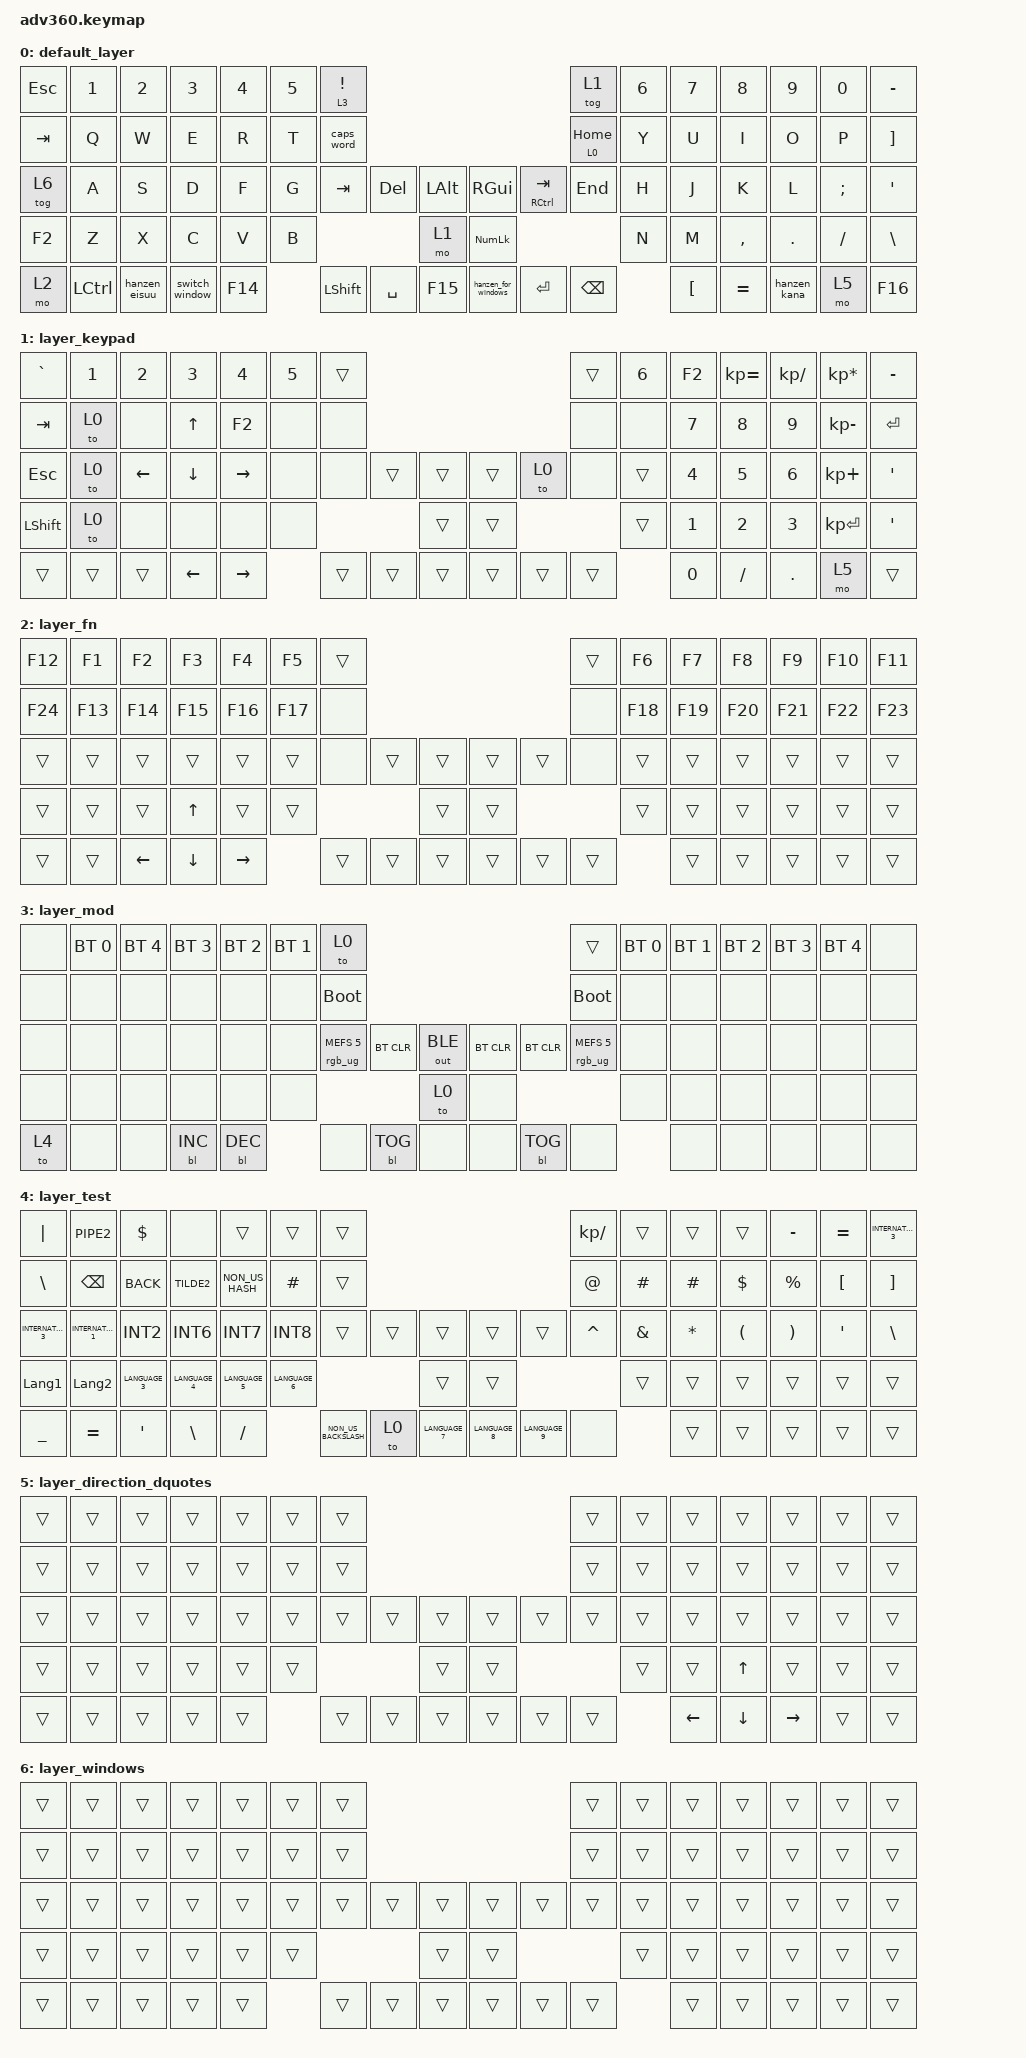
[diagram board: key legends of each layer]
/*
 * Copyright (c) 2020 The ZMK Contributors
 *
 * SPDX-License-Identifier: MIT
 */
/* THIS FILE WAS GENERATED!
 *
 * This file was generated automatically. You may or may not want to
 * edit it directly.
 */

#include <behaviors.dtsi>
#include <dt-bindings/zmk/backlight.h>
#include <dt-bindings/zmk/bt.h>
#include <dt-bindings/zmk/keys.h>
#include <dt-bindings/zmk/outputs.h>
#include <dt-bindings/zmk/rgb.h>

/ {
    behaviors {
        #include "macros.dtsi"
    #include "version.dtsi"

        hm: homerow_mods {
            compatible = "zmk,behavior-hold-tap";
            label = "HOMEROW_MODS";
            #binding-cells = <2>;
            tapping-term-ms = <200>;
            quick_tap_ms = <175>;
            flavor = "tap-preferred";
            bindings = <&kp>, <&kp>;
        };
    };

    macros {
        hanzen_eisuu: hanzen_or_eisuu {
            compatible = "zmk,behavior-macro";
            #binding-cells = <0>;
            bindings = <&kp F20>;
            label = "HANZEN_OR_EISUU";
        };

        hanzen_kana: hanzen_kana {
            compatible = "zmk,behavior-macro";
            #binding-cells = <0>;
            bindings = <&sk RIGHT_CONTROL &kp SPACE>;
            label = "HANZEN_KANA";
        };

        switch_window: switch_window {
            compatible = "zmk,behavior-macro";
            #binding-cells = <0>;
            bindings = <&kp SCROLLLOCK>;
            label = "SWITCH_WINDOW";
        };

        hanzen_for_windows: hanzen_for_windows {
            compatible = "zmk,behavior-macro";
            #binding-cells = <0>;
            bindings = <&sk LEFT_CONTROL &kp SPACE>;
            label = "HANZEN_FOR_WINDOWS";
        };
    };

    keymap {
        compatible = "zmk,keymap";

        default_layer {
            bindings = <
&kp ESC  &kp N1     &kp N2         &kp N3          &kp N4   &kp N5  &lt 3 EXCLAMATION                                                               &tog 1         &kp N6  &kp N7            &kp N8     &kp N9        &kp N0     &kp MINUS
&kp TAB  &kp Q      &kp W          &kp E           &kp R    &kp T   &caps_word                                                                      &lt 0 HOME     &kp Y   &kp U             &kp I      &kp O         &kp P      &kp RIGHT_BRACKET
&tog 6   &kp A      &kp S          &kp D           &kp F    &kp G   &kp TAB            &kp DEL    &kp LALT      &kp RGUI             &mt RCTRL TAB  &kp END        &kp H   &kp J             &kp K      &kp L         &kp SEMI   &kp SQT
&kp F2   &kp Z      &kp X          &kp C           &kp V    &kp B                                 &mo 1         &kp KP_NUM                                         &kp N   &kp M             &kp COMMA  &kp PERIOD    &kp SLASH  &kp BACKSLASH
&mo 2    &kp LCTRL  &hanzen_eisuu  &switch_window  &kp F14          &kp LEFT_SHIFT     &kp SPACE  &kp F15       &hanzen_for_windows  &kp ENTER      &kp BACKSPACE          &kp LEFT_BRACKET  &kp EQUAL  &hanzen_kana  &mo 5      &kp F16
            >;
        };

        layer_keypad {
            bindings = <
&kp GRAVE  &kp N1  &kp N2    &kp N3    &kp N4     &kp N5  &trans                                      &trans  &kp N6  &kp F2        &kp KP_EQUAL  &kp KP_DIVIDE  &kp KP_MULTIPLY  &kp MINUS
&kp TAB    &to 0   &none     &kp UP    &kp F2     &none   &none                                       &none   &none   &kp N7        &kp N8        &kp N9         &kp KP_MINUS     &kp ENTER
&kp ESC    &to 0   &kp LEFT  &kp DOWN  &kp RIGHT  &none   &none   &trans  &trans      &trans  &to 0   &none   &trans  &kp N4        &kp N5        &kp N6         &kp KP_PLUS      &kp SQT
&kp LSHFT  &to 0   &none     &none     &none      &none                   &trans      &trans                  &trans  &kp NUMBER_1  &kp N2        &kp N3         &kp KP_ENTER     &kp SQT
&trans     &trans  &trans    &kp LEFT  &kp RIGHT          &trans  &trans  &trans      &trans  &trans  &trans          &kp N0        &kp SLASH     &kp DOT        &mo 5            &trans
            >;
        };

        layer_fn {
            bindings = <
&kp F12  &kp F1   &kp F2    &kp F3    &kp F4     &kp F5   &trans                                      &trans  &kp F6   &kp F7   &kp F8   &kp F9   &kp F10  &kp F11
&kp F24  &kp F13  &kp F14   &kp F15   &kp F16    &kp F17  &none                                       &none   &kp F18  &kp F19  &kp F20  &kp F21  &kp F22  &kp F23
&trans   &trans   &trans    &trans    &trans     &trans   &none   &trans  &trans      &trans  &trans  &none   &trans   &trans   &trans   &trans   &trans   &trans
&trans   &trans   &trans    &kp UP    &trans     &trans                   &trans      &trans                  &trans   &trans   &trans   &trans   &trans   &trans
&trans   &trans   &kp LEFT  &kp DOWN  &kp RIGHT           &trans  &trans  &trans      &trans  &trans  &trans           &trans   &trans   &trans   &trans   &trans
            >;
        };

        layer_mod {
            bindings = <
&none  &bt BT_SEL 0  &bt BT_SEL 4  &bt BT_SEL 3  &bt BT_SEL 2  &bt BT_SEL 1  &to 0                                                                         &trans                  &bt BT_SEL 0  &bt BT_SEL 1  &bt BT_SEL 2  &bt BT_SEL 3  &bt BT_SEL 4  &none
&none  &none         &none         &none         &none         &none         &bootloader                                                                   &bootloader             &none         &none         &none         &none         &none         &none
&none  &none         &none         &none         &none         &none         &rgb_ug RGB_MEFS_CMD 5  &bt BT_CLR  &out OUT_BLE      &bt BT_CLR  &bt BT_CLR  &rgb_ug RGB_MEFS_CMD 5  &none         &none         &none         &none         &none         &none
&none  &none         &none         &none         &none         &none                                             &to 0             &none                                           &none         &none         &none         &none         &none         &none
&to 4  &none         &none         &bl BL_INC    &bl BL_DEC                  &none                   &bl BL_TOG  &none             &none       &bl BL_TOG  &none                                 &none         &none         &none         &none         &none
            >;
        };

        layer_test {
            bindings = <
&kp PIPE             &kp PIPE2            &kp DOLLAR      &none           &trans           &trans          &trans                                                                            &kp KP_DIVIDE  &trans         &trans        &trans                &kp MINUS              &kp EQUAL         &kp INTERNATIONAL_3
&kp BACKSLASH        &kp BACKSPACE        &kp K_BACK      &kp TILDE2      &kp NON_US_HASH  &kp HASH        &trans                                                                            &kp AT_SIGN    &kp HASH       &kp POUND     &kp DOLLAR            &kp PERCENT            &kp LBKT          &kp RBKT
&kp INTERNATIONAL_3  &kp INTERNATIONAL_1  &kp INT2        &kp INT6        &kp INT7         &kp INT8        &trans                &trans  &trans              &trans          &trans          &kp CARET      &kp AMPERSAND  &kp ASTERISK  &kp LEFT_PARENTHESIS  &kp RIGHT_PARENTHESIS  &kp SINGLE_QUOTE  &kp BACKSLASH
&kp LANGUAGE_1       &kp LANGUAGE_2       &kp LANGUAGE_3  &kp LANGUAGE_4  &kp LANGUAGE_5   &kp LANGUAGE_6                                &trans              &trans                                         &trans         &trans        &trans                &trans                 &trans            &trans
&kp UNDERSCORE       &kp EQUAL            &kp APOS        &kp BACKSLASH   &kp SLASH                        &kp NON_US_BACKSLASH  &to 0   &kp LANGUAGE_7      &kp LANGUAGE_8  &kp LANGUAGE_9  &none                         &trans        &trans                &trans                 &trans            &trans
            >;
        };

        layer_direction_dquotes {
            bindings = <
&trans  &trans  &trans  &trans  &trans  &trans  &trans                                      &trans  &trans  &trans    &trans    &trans     &trans  &trans
&trans  &trans  &trans  &trans  &trans  &trans  &trans                                      &trans  &trans  &trans    &trans    &trans     &trans  &trans
&trans  &trans  &trans  &trans  &trans  &trans  &trans  &trans  &trans      &trans  &trans  &trans  &trans  &trans    &trans    &trans     &trans  &trans
&trans  &trans  &trans  &trans  &trans  &trans                  &trans      &trans                  &trans  &trans    &kp UP    &trans     &trans  &trans
&trans  &trans  &trans  &trans  &trans          &trans  &trans  &trans      &trans  &trans  &trans          &kp LEFT  &kp DOWN  &kp RIGHT  &trans  &trans
            >;
        };

        layer_windows {
            bindings = <
&trans  &trans  &trans  &trans  &trans  &trans  &trans                                      &trans  &trans  &trans  &trans  &trans  &trans  &trans
&trans  &trans  &trans  &trans  &trans  &trans  &trans                                      &trans  &trans  &trans  &trans  &trans  &trans  &trans
&trans  &trans  &trans  &trans  &trans  &trans  &trans  &trans  &trans      &trans  &trans  &trans  &trans  &trans  &trans  &trans  &trans  &trans
&trans  &trans  &trans  &trans  &trans  &trans                  &trans      &trans                  &trans  &trans  &trans  &trans  &trans  &trans
&trans  &trans  &trans  &trans  &trans          &trans  &trans  &trans      &trans  &trans  &trans          &trans  &trans  &trans  &trans  &trans
            >;
        };
    };
};
